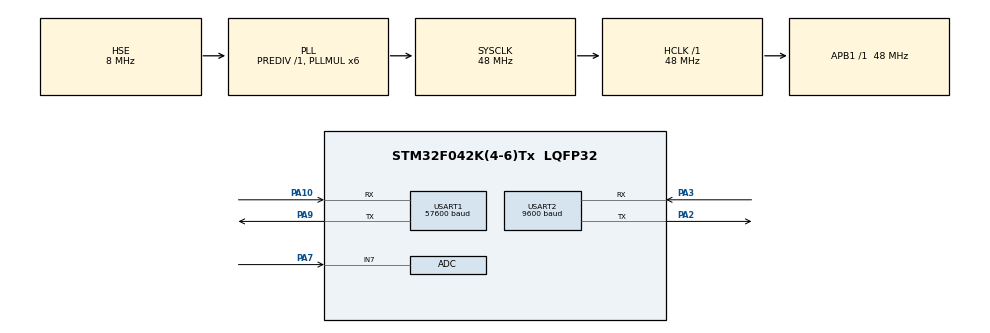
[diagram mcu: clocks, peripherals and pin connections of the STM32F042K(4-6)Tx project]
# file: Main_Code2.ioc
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ADC.ContinuousConvMode=DISABLE
ADC.DMAContinuousRequests=DISABLE
ADC.EOCSelection=ADC_EOC_SINGLE_CONV
ADC.SamplingTime=ADC_SAMPLETIME_55CYCLES_5
Dma.ADC.0.Direction=DMA_PERIPH_TO_MEMORY
Dma.ADC.0.Instance=DMA1_Channel1
Dma.ADC.0.MemDataAlignment=DMA_MDATAALIGN_HALFWORD
Dma.ADC.0.MemInc=DMA_MINC_ENABLE
Dma.ADC.0.Mode=DMA_NORMAL
Dma.ADC.0.PeriphDataAlignment=DMA_PDATAALIGN_HALFWORD
Dma.ADC.0.PeriphInc=DMA_PINC_DISABLE
Dma.ADC.0.Priority=DMA_PRIORITY_LOW
Dma.Request0=ADC
Dma.Request1=USART1_RX
Dma.Request2=USART1_TX
Dma.USART1_RX.1.Direction=DMA_PERIPH_TO_MEMORY
Dma.USART1_RX.1.Instance=DMA1_Channel3
Dma.USART1_RX.1.MemDataAlignment=DMA_MDATAALIGN_BYTE
Dma.USART1_RX.1.MemInc=DMA_MINC_ENABLE
Dma.USART1_RX.1.Mode=DMA_CIRCULAR
Dma.USART1_RX.1.PeriphDataAlignment=DMA_PDATAALIGN_BYTE
Dma.USART1_RX.1.PeriphInc=DMA_PINC_DISABLE
Dma.USART1_RX.1.Priority=DMA_PRIORITY_LOW
Dma.USART1_TX.2.Direction=DMA_MEMORY_TO_PERIPH
Dma.USART1_TX.2.Instance=DMA1_Channel2
Dma.USART1_TX.2.MemDataAlignment=DMA_MDATAALIGN_BYTE
Dma.USART1_TX.2.MemInc=DMA_MINC_ENABLE
Dma.USART1_TX.2.Mode=DMA_NORMAL
Dma.USART1_TX.2.PeriphDataAlignment=DMA_PDATAALIGN_BYTE
Dma.USART1_TX.2.PeriphInc=DMA_PINC_DISABLE
Dma.USART1_TX.2.Priority=DMA_PRIORITY_LOW
Mcu.Family=STM32F0
Mcu.Name=STM32F042K(4-6)Tx
Mcu.Package=LQFP32
NVIC.ADC1_IRQn=true\:0\:0\:false\:false\:true\:true\:true\:true
NVIC.DMA1_Channel1_IRQn=true\:0\:0\:false\:false\:true\:false\:true\:true
NVIC.DMA1_Channel2_3_IRQn=true\:0\:0\:false\:false\:true\:false\:true\:true
NVIC.USART1_IRQn=true\:0\:0\:false\:false\:true\:true\:true\:true
PA10.Mode=Asynchronous
PA10.Signal=USART1_RX
PA13.Mode=Serial_Wire
PA13.Signal=SYS_SWDIO
PA14.Mode=Serial_Wire
PA14.Signal=SYS_SWCLK
PA2.Mode=Asynchronous
PA2.Signal=USART2_TX
PA3.Mode=Asynchronous
PA3.Signal=USART2_RX
PA7.Mode=IN7
PA7.Signal=ADC_IN7
PA9.Mode=Asynchronous
PA9.Signal=USART1_TX
PF0-OSC_IN.Mode=HSE-External-Oscillator
PF0-OSC_IN.Signal=RCC_OSC_IN
PF1-OSC_OUT.Mode=HSE-External-Oscillator
PF1-OSC_OUT.Signal=RCC_OSC_OUT
ProjectManager.HeapSize=0x200
ProjectManager.StackSize=0x400
ProjectManager.TargetToolchain=STM32CubeIDE
RCC.AHBFreq_Value=48000000
RCC.APB1Freq_Value=48000000
RCC.APB1TimFreq_Value=48000000
RCC.HCLKFreq_Value=48000000
RCC.PLLMUL=RCC_PLL_MUL6
RCC.PLLSourceVirtual=RCC_PLLSOURCE_HSE
RCC.SYSCLKFreq_VALUE=48000000
RCC.SYSCLKSource=RCC_SYSCLKSOURCE_PLLCLK
USART1.BaudRate=57600
USART1.VirtualMode-Asynchronous=VM_ASYNC
USART2.BaudRate=9600
USART2.VirtualMode-Asynchronous=VM_ASYNC
board=custom

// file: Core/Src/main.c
/* USER CODE BEGIN Header */
/**
  ******************************************************************************
  * @file           : main.c
  * @brief          : Main program body
  ******************************************************************************
  * @attention
  *
  * Copyright (c) 2024 STMicroelectronics.
  * All rights reserved.
  *
  * This software is licensed under terms that can be found in the LICENSE file
  * in the root directory of this software component.
  * If no LICENSE file comes with this software, it is provided AS-IS.
  *
  ******************************************************************************
  */
/* USER CODE END Header */
#include "main.h"

/* USER CODE BEGIN Includes */
#include <stdio.h>
#include "string.h"
/* USER CODE END Includes */

/* USER CODE BEGIN PD */
#define THRESHOLD 3500   // Example threshold for peak detection
#define A 0.5            // Hypothetical calibration constant for SBP
#define B 85            // Hypothetical calibration constant for SBP
#define C 0.3            // Hypothetical calibration constant for DBP
#define D 55             // Hypothetical calibration constant for DBP

/* USER CODE END PD */

ADC_HandleTypeDef hadc;
DMA_HandleTypeDef hdma_adc;

UART_HandleTypeDef huart1;
UART_HandleTypeDef huart2;
DMA_HandleTypeDef hdma_usart1_rx;
DMA_HandleTypeDef hdma_usart1_tx;

/* USER CODE BEGIN PV */
void ESP_SendCommand(char *command);
uint8_t RxBuffer[1024];
uint8_t TxBuffer[1024];
uint8_t danger = 0;
int sbp_int = 0;
int dbp_int = 0;
uint8_t ttt = 0;
/* USER CODE END PV */

void SystemClock_Config(void);
static void MX_GPIO_Init(void);
static void MX_DMA_Init(void);
static void MX_ADC_Init(void);
static void MX_USART1_UART_Init(void);
static void MX_USART2_UART_Init(void);

/* USER CODE BEGIN 0 */
void HAL_UART_RxCpltCallback(UART_HandleTypeDef *huart) {
//    HAL_UART_Receive_IT(huart, RxBuffer, sizeof(RxBuffer));
}

void ESP_SendCommand(char *command) {
    sprintf((char *)TxBuffer, "%s", command);
    HAL_UART_Transmit(&huart1, TxBuffer, strlen((char *)TxBuffer), 1000);
//    HAL_UART_Receive(&huart1, RxBuffer, sizeof(RxBuffer), 1000);  // Receive response (optional)
//    HAL_UART_DeInit(&huart1);
//    HAL_UART_Init(&huart1);

}
// Function to read ADC value
uint32_t Read_ADC(void) {
    HAL_ADC_Start(&hadc);                          // Start ADC conversion
    HAL_ADC_PollForConversion(&hadc, HAL_MAX_DELAY); // Wait for conversion
    uint32_t adc_value = HAL_ADC_GetValue(&hadc);  // Get ADC value
    HAL_ADC_Stop(&hadc);                           // Stop ADC conversion
    return adc_value;
}

// Function to send data via UART
//void UART_Send(char *message) {
//    HAL_UART_Transmit(&huart1, (uint8_t *)message, strlen(message), HAL_MAX_DELAY);
//}

// Function to estimate and send BP
void CalculateAndSendBP(uint32_t hr) {
    float sbp = A * hr + B;
    float dbp = C * hr + D;

    sbp_int = (int)sbp;  // Convert to integer for display
	dbp_int = (int)dbp;  // Convert to integer for display

//    HAL_UART_Transmit(&huart1, (uint8_t *) &sbp, 4, 1000);
//    HAL_UART_Transmit(&huart1, (uint8_t *) &dbp, 4, 1000);

    if (hr>103 || sbp > 145) {
		// Send HTTP response
		danger = 1;
	}
    else
    {
    	danger = 0;
    }

//    char buffer[100];
//    sprintf(buffer, "HR: %lu BPM, SBP: %.2f mmHg, DBP: %.2f mmHg\r\n", hr, sbp, dbp);
//    UART_Send(buffer);
}
/* USER CODE END 0 */

int main(void)
{

  /* MCU Configuration--------------------------------------------------------*/

  /* Reset of all peripherals, Initializes the Flash interface and the Systick. */
  HAL_Init();

  /* Configure the system clock */
  SystemClock_Config();

  /* Initialize all configured peripherals */
  MX_GPIO_Init();
  MX_DMA_Init();
  MX_ADC_Init();
  MX_USART1_UART_Init();
  MX_USART2_UART_Init();
  /* USER CODE BEGIN 2 */
  uint32_t previous_peak_time = 0;
  uint32_t current_peak_time = 0;
  uint32_t adc_value = 0;
  uint32_t hr = 0;
  uint32_t time_diff = 0;

  // Initialize ESP8266 with AT commands
//      ESP_SendCommand("AT+RESTORE\r\n");         // Test if ESP is working
//      HAL_Delay(1000);
      ESP_SendCommand("AT+RST\r\n");         // Test if ESP is working
      HAL_Delay(2000);
      ESP_SendCommand("AT+CWMODE=2\r\n");  // Set ESP8266 to AP mode (CWMODE=2)
	  HAL_Delay(2000);

	  ESP_SendCommand("AT+CWSAP=\"Zaraban\",\"12345678\",5,3\r\n");  // Set SSID and password (Max 8 chars for WPA2)
	  HAL_Delay(2000);

	  ESP_SendCommand("AT+CIPMUX=1\r\n");  // Enable multiple connections
	  HAL_Delay(1000);

	  ESP_SendCommand("AT+CIPSERVER=1,80\r\n");  // Start the server on port 80
	  HAL_Delay(1000);
//      HAL_Delay(5000);

      // Set up the web server
//      ESP_SendCommand("AT+CIPMUX=1\r\n");  // Enable multiple connections
//      HAL_Delay(1000);
//      ESP_SendCommand("AT+CIPSERVER=1,80\r\n");  // Start the server on port 80
//      HAL_Delay(1000);

//	  ESP_SendCommand("AT+CIFSR\r\n");

	  HAL_UART_Receive_DMA(&huart1, RxBuffer, sizeof(RxBuffer));

  /* USER CODE END 2 */

  /* Infinite loop */
  /* USER CODE BEGIN WHILE */
  while (1)
  {
	  ttt++;
 	  if (strstr((char *)RxBuffer, "+IPD") && ttt % 2 == 1) {
 		 char html_page[512];

 		if (danger == 1) {
		  sprintf(html_page,
				  "HTTP/1.1 200 OK\r\n"
				  "Content-Type: text/html\r\n\r\n"
				  "<html>"
				  "<head><meta http-equiv=\"refresh\" content=\"3\"></head>"
				  "<body>"
				  "<h1>Alarm!!!</h1>"
//				  "<p>HR: %lu BPM</p>"
				  "<p>SBP: %d mmHg</p>"
				  "<p>DBP: %d mmHg</p>"
				  "</body>"
				  "</html>",
				  sbp_int, dbp_int);
	  } else {
		  sprintf(html_page,
				  "HTTP/1.1 200 OK\r\n"
				  "Content-Type: text/html\r\n\r\n"
				  "<html>"
				  "<head><meta http-equiv=\"refresh\" content=\"3\"></head>"
				  "<body>"
				  "<h1>Normal!</h1>"
//				  "<p>HR: %lu BPM</p>"
				  "<p>SBP: %d mmHg</p>"
				  "<p>DBP: %d mmHg</p>"
				  "</body>"
				  "</html>",
				   sbp_int, dbp_int);
	  }

//		  char *html_page =
//		                  "HTTP/1.1 200 OK\r\n"
//		                  "Content-Type: text/html\r\n\r\n"
//		                  "<html>"
//		                  "<head><meta http-equiv=\"refresh\" content=\"1\"></head>"
//		                  "<body>"
//		                  "<h1>Normal!</h1>"
//		                  "</body>"
//		                  "</html>";
//
//		  char *html_page2 =
//		  		                  "HTTP/1.1 200 OK\r\n"
//		  		                  "Content-Type: text/html\r\n\r\n"
//		  		                  "<html>"
//		  		                  "<head><meta http-equiv=\"refresh\" content=\"1\"></head>"
//		  		                  "<body>"
//		  		                  "<h1>Alarm!!!</h1>"
//		  		                  "</body>"
//		  		                  "</html>";

		              // Send HTML response
//		              ESP_SendCommand("AT+CIPSEND=0,128\r\n");  // Adjust length based on your HTML content
 					  ESP_SendCommand("AT+CIPSEND=0,256\r\n");
 					  HAL_Delay(100);
// 					 memset(RxBuffer, 0, sizeof(RxBuffer));
		              ESP_SendCommand(html_page);

//		              HAL_Delay(100);
//		              HAL_UART_AbortReceive_IT(&huart1);
//		              for(int i = 0; i < 200; i++) RxBuffer[i] = 0;
//		        	  HAL_UART_Receive_IT(&huart1, RxBuffer, sizeof(RxBuffer));

		  // Close connection after sending response
		  ESP_SendCommand("AT+CIPCLOSE=5\r\n");
//          memset(RxBuffer, 0, sizeof(RxBuffer));

	  }
	  adc_value = Read_ADC();  // Read Pulse Sensor value

	  if (adc_value > THRESHOLD) {
		  // A peak is detected
		  current_peak_time = HAL_GetTick();  // Get current time in ms

		  if (previous_peak_time != 0) {
			  // Calculate heart rate (BPM)
			  time_diff = current_peak_time - previous_peak_time;
			  hr = 60000 / time_diff;  // Convert ms to BPM

			  // Estimate and send BP via UART
			  if(hr > 60 && hr < 110)
				  CalculateAndSendBP(hr);
		  }

		  previous_peak_time = current_peak_time;  // Update previous peak time

		  // Debounce to avoid multiple detections of the same peak
//		  HAL_Delay(250);  // 250ms delay
	  }

//	  HAL_Delay(10);  // Small delay to control sampling rate
    /* USER CODE END WHILE */

  }
}

void SystemClock_Config(void)
{
  RCC_OscInitTypeDef RCC_OscInitStruct = {0};
  RCC_ClkInitTypeDef RCC_ClkInitStruct = {0};
  RCC_PeriphCLKInitTypeDef PeriphClkInit = {0};

  /** Initializes the RCC Oscillators according to the specified parameters
  * in the RCC_OscInitTypeDef structure.
  */
  RCC_OscInitStruct.OscillatorType = RCC_OSCILLATORTYPE_HSI14|RCC_OSCILLATORTYPE_HSE;
  RCC_OscInitStruct.HSEState = RCC_HSE_ON;
  RCC_OscInitStruct.HSI14State = RCC_HSI14_ON;
  RCC_OscInitStruct.HSI14CalibrationValue = 16;
  RCC_OscInitStruct.PLL.PLLState = RCC_PLL_ON;
  RCC_OscInitStruct.PLL.PLLSource = RCC_PLLSOURCE_HSE;
  RCC_OscInitStruct.PLL.PLLMUL = RCC_PLL_MUL6;
  RCC_OscInitStruct.PLL.PREDIV = RCC_PREDIV_DIV1;
  if (HAL_RCC_OscConfig(&RCC_OscInitStruct) != HAL_OK)
  {
    Error_Handler();
  }

  /** Initializes the CPU, AHB and APB buses clocks
  */
  RCC_ClkInitStruct.ClockType = RCC_CLOCKTYPE_HCLK|RCC_CLOCKTYPE_SYSCLK
                              |RCC_CLOCKTYPE_PCLK1;
  RCC_ClkInitStruct.SYSCLKSource = RCC_SYSCLKSOURCE_PLLCLK;
  RCC_ClkInitStruct.AHBCLKDivider = RCC_SYSCLK_DIV1;
  RCC_ClkInitStruct.APB1CLKDivider = RCC_HCLK_DIV1;

  if (HAL_RCC_ClockConfig(&RCC_ClkInitStruct, FLASH_LATENCY_1) != HAL_OK)
  {
    Error_Handler();
  }
  PeriphClkInit.PeriphClockSelection = RCC_PERIPHCLK_USART1;
  PeriphClkInit.Usart1ClockSelection = RCC_USART1CLKSOURCE_PCLK1;
  if (HAL_RCCEx_PeriphCLKConfig(&PeriphClkInit) != HAL_OK)
  {
    Error_Handler();
  }
}

static void MX_ADC_Init(void)
{

  ADC_ChannelConfTypeDef sConfig = {0};

  /** Configure the global features of the ADC (Clock, Resolution, Data Alignment and number of conversion)
  */
  hadc.Instance = ADC1;
  hadc.Init.ClockPrescaler = ADC_CLOCK_ASYNC_DIV1;
  hadc.Init.Resolution = ADC_RESOLUTION_12B;
  hadc.Init.DataAlign = ADC_DATAALIGN_RIGHT;
  hadc.Init.ScanConvMode = ADC_SCAN_DIRECTION_FORWARD;
  hadc.Init.EOCSelection = ADC_EOC_SINGLE_CONV;
  hadc.Init.LowPowerAutoWait = DISABLE;
  hadc.Init.LowPowerAutoPowerOff = DISABLE;
  hadc.Init.ContinuousConvMode = DISABLE;
  hadc.Init.DiscontinuousConvMode = DISABLE;
  hadc.Init.ExternalTrigConv = ADC_SOFTWARE_START;
  hadc.Init.ExternalTrigConvEdge = ADC_EXTERNALTRIGCONVEDGE_NONE;
  hadc.Init.DMAContinuousRequests = DISABLE;
  hadc.Init.Overrun = ADC_OVR_DATA_PRESERVED;
  if (HAL_ADC_Init(&hadc) != HAL_OK)
  {
    Error_Handler();
  }

  /** Configure for the selected ADC regular channel to be converted.
  */
  sConfig.Channel = ADC_CHANNEL_7;
  sConfig.Rank = ADC_RANK_CHANNEL_NUMBER;
  sConfig.SamplingTime = ADC_SAMPLETIME_55CYCLES_5;
  if (HAL_ADC_ConfigChannel(&hadc, &sConfig) != HAL_OK)
  {
    Error_Handler();
  }

}

static void MX_USART1_UART_Init(void)
{

  huart1.Instance = USART1;
  huart1.Init.BaudRate = 115200;
  huart1.Init.WordLength = UART_WORDLENGTH_8B;
  huart1.Init.StopBits = UART_STOPBITS_1;
  huart1.Init.Parity = UART_PARITY_NONE;
  huart1.Init.Mode = UART_MODE_TX_RX;
  huart1.Init.HwFlowCtl = UART_HWCONTROL_NONE;
  huart1.Init.OverSampling = UART_OVERSAMPLING_16;
  huart1.Init.OneBitSampling = UART_ONE_BIT_SAMPLE_DISABLE;
  huart1.AdvancedInit.AdvFeatureInit = UART_ADVFEATURE_NO_INIT;
  if (HAL_UART_Init(&huart1) != HAL_OK)
  {
    Error_Handler();
  }

}

static void MX_USART2_UART_Init(void)
{

  huart2.Instance = USART2;
  huart2.Init.BaudRate = 9600;
  huart2.Init.WordLength = UART_WORDLENGTH_8B;
  huart2.Init.StopBits = UART_STOPBITS_1;
  huart2.Init.Parity = UART_PARITY_NONE;
  huart2.Init.Mode = UART_MODE_TX_RX;
  huart2.Init.HwFlowCtl = UART_HWCONTROL_NONE;
  huart2.Init.OverSampling = UART_OVERSAMPLING_16;
  huart2.Init.OneBitSampling = UART_ONE_BIT_SAMPLE_DISABLE;
  huart2.AdvancedInit.AdvFeatureInit = UART_ADVFEATURE_NO_INIT;
  if (HAL_UART_Init(&huart2) != HAL_OK)
  {
    Error_Handler();
  }

}

static void MX_DMA_Init(void)
{

  /* DMA controller clock enable */
  __HAL_RCC_DMA1_CLK_ENABLE();

  /* DMA interrupt init */
  /* DMA1_Channel1_IRQn interrupt configuration */
  HAL_NVIC_SetPriority(DMA1_Channel1_IRQn, 0, 0);
  HAL_NVIC_EnableIRQ(DMA1_Channel1_IRQn);
  /* DMA1_Channel2_3_IRQn interrupt configuration */
  HAL_NVIC_SetPriority(DMA1_Channel2_3_IRQn, 0, 0);
  HAL_NVIC_EnableIRQ(DMA1_Channel2_3_IRQn);

}

static void MX_GPIO_Init(void)
{

  /* GPIO Ports Clock Enable */
  __HAL_RCC_GPIOF_CLK_ENABLE();
  __HAL_RCC_GPIOA_CLK_ENABLE();

}

void Error_Handler(void)
{
  __disable_irq();
  while (1)
  {
  }
}
